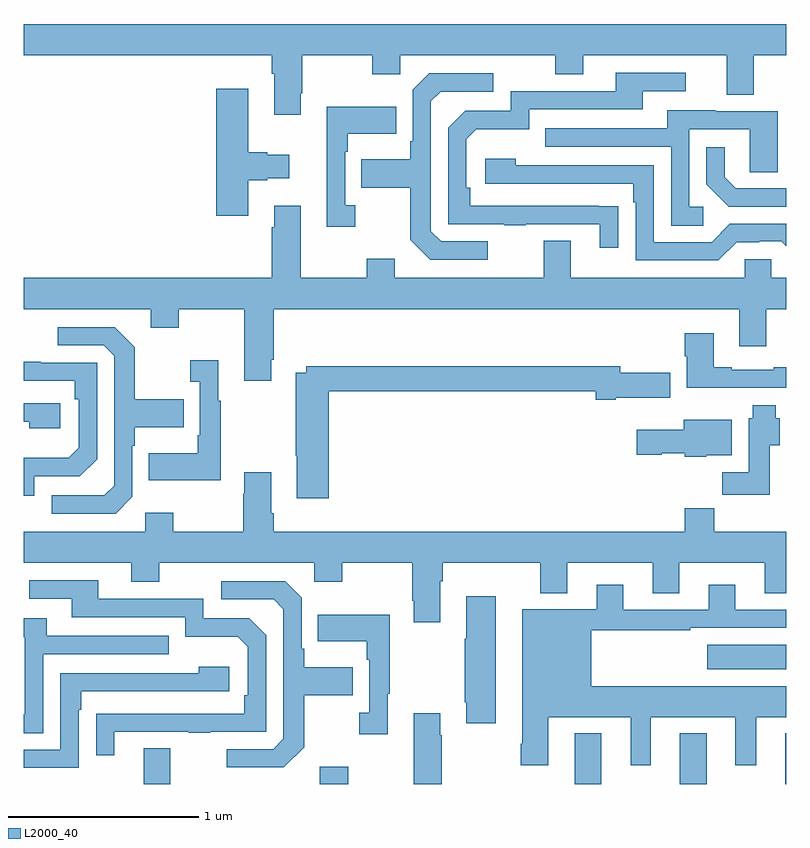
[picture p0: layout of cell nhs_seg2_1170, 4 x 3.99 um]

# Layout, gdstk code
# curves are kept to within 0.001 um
import gdstk
lib = gdstk.Library(unit=1e-6, precision=1e-09)
def R(c, l, rs):  # rectangles x0, y0, x1, y1
    for r in rs: c.add(gdstk.rectangle(r[:2], r[2:], *l))
def P(c, l, *ps):  # polygons
    for p in ps: c.add(gdstk.Polygon(p, *l))
L2000_40 = (2000, 40)

nhs_seg2_1170 = lib.new_cell('nhs_seg2_1170')
R(nhs_seg2_1170, L2000_40, [(171.629,655.8,171.769,655.987), (172.553,655.8,172.701,655.891), (173.891,655.8,174.031,656.065), (174.443,655.8,174.583,656.065), (174.995,655.8,175,656.065), (174.585,656.402,175,656.53)])
P(nhs_seg2_1170, L2000_40, [(172.453,659.425),(172.461,659.425),(172.461,659.624),(172.828,659.624),(172.828,659.525),(172.974,659.525),(172.974,659.624),(173.788,659.624),(173.788,659.525),(173.935,659.525),(173.935,659.624),(174.689,659.624),(174.689,659.416),(174.829,659.416),(174.829,659.624),(175,659.624),(175,659.788),(171,659.788),(171,659.624),(172.301,659.624),(172.301,659.528),(172.313,659.528),(172.313,659.313),(172.453,659.313)],
  [(174.119,658.832),(173.342,658.833),(173.342,658.93),(173.322,658.93),(173.322,659.184),(173.375,659.237),(173.652,659.237),(173.652,659.34),(174.247,659.34),(174.247,659.436),(174.472,659.436),(174.472,659.532),(174.107,659.532),(174.107,659.436),(173.556,659.436),(173.556,659.334),(173.316,659.334),(173.226,659.244),(173.226,658.737),(173.521,658.737),(173.521,658.732),(173.633,658.732),(173.633,658.737),(174.023,658.737),(174.023,658.614),(174.119,658.614)],
  [(173.434,658.647),(173.19,658.647),(173.136,658.701),(173.136,659.382),(173.187,659.433),(173.464,659.433),(173.464,659.529),(173.127,659.529),(173.04,659.442),(173.04,659.173),(173.028,659.173),(173.028,659.077),(172.771,659.077),(172.771,658.93),(173.028,658.93),(173.028,658.657),(173.133,658.551),(173.434,658.551)],
  [(172.177,658.967),(172.277,658.967),(172.277,658.979),(172.393,658.979),(172.393,659.101),(172.277,659.101),(172.277,659.114),(172.177,659.114),(172.177,659.449),(172.01,659.449),(172.01,658.782),(172.177,658.782)],
  [(172.738,658.838),(172.686,658.838),(172.686,659.117),(172.699,659.117),(172.699,659.213),(172.955,659.213),(172.955,659.353),(172.589,659.353),(172.589,658.725),(172.738,658.725)],
  [(174.565,658.83),(174.492,658.83),(174.492,659.235),(174.81,659.235),(174.81,659.011),(174.955,659.011),(174.955,659.331),(174.631,659.331),(174.631,659.335),(174.377,659.335),(174.377,659.241),(173.737,659.241),(173.737,659.145),(174.396,659.145),(174.396,658.729),(174.565,658.729)],
  [(175,658.926),(174.736,658.926),(174.679,658.983),(174.679,659.14),(174.582,659.14),(174.582,658.946),(174.698,658.83),(175,658.83)],
  [(174.741,658.644),(174.86,658.644),(174.86,658.647),(174.975,658.647),(175,658.622),(175,658.74),(174.705,658.74),(174.609,658.644),(174.306,658.644),(174.306,659.046),(173.582,659.046),(173.582,659.08),(173.421,659.08),(173.421,658.95),(174.197,658.95),(174.197,658.853),(174.21,658.853),(174.21,658.548),(174.645,658.548)],
  [(174.755,658.098),(174.895,658.098),(174.895,658.292),(175,658.292),(175,658.456),(174.921,658.456),(174.921,658.554),(174.783,658.554),(174.783,658.456),(173.869,658.456),(173.869,658.651),(173.729,658.651),(173.729,658.456),(172.945,658.456),(172.945,658.555),(172.798,658.555),(172.798,658.456),(172.453,658.456),(172.453,658.834),(172.313,658.834),(172.313,658.721),(172.301,658.721),(172.301,658.456),(171,658.456),(171,658.292),(171.665,658.292),(171.665,658.193),(171.813,658.193),(171.813,658.292),(172.157,658.292),(172.157,657.915),(172.297,657.915),(172.297,658.027),(172.31,658.027),(172.31,658.292),(174.755,658.292)],
  [(171.57,657.306),(171.57,657.575),(171.583,657.575),(171.583,657.671),(171.839,657.671),(171.839,657.819),(171.583,657.819),(171.583,658.091),(171.477,658.197),(171.177,658.197),(171.177,658.101),(171.42,658.101),(171.474,658.047),(171.474,657.366),(171.423,657.315),(171.147,657.315),(171.147,657.219),(171.483,657.219)],
  [(174.711,657.879),(175,657.879),(175,657.988),(174.935,657.988),(174.935,657.975),(174.715,657.975),(174.715,657.988),(174.619,657.988),(174.619,658.165),(174.467,658.165),(174.467,658.045),(174.479,658.045),(174.479,657.878),(174.711,657.878)],
  [(172.033,657.811),(172.021,657.811),(172.021,658.024),(171.873,658.024),(171.873,657.911),(171.924,657.911),(171.924,657.631),(171.912,657.631),(171.912,657.535),(171.655,657.535),(171.655,657.395),(172.033,657.395)],
  [(171.054,657.414),(171.294,657.414),(171.384,657.504),(171.384,658.011),(171.089,658.011),(171.089,658.016),(171,658.016),(171,657.915),(171.268,657.915),(171.268,657.818),(171.288,657.818),(171.288,657.564),(171.235,657.511),(171,657.511),(171,657.312),(171.054,657.312)],
  [(172.601,657.862),(174.002,657.862),(174.002,657.815),(174.106,657.815),(174.106,657.827),(174.391,657.827),(174.391,657.957),(174.13,657.957),(174.13,657.991),(172.482,657.991),(172.482,657.958),(172.426,657.958),(172.426,657.523),(172.433,657.523),(172.433,657.3),(172.601,657.3)],
  [(171.19,657.798),(171,657.798),(171,657.702),(171.029,657.702),(171.029,657.668),(171.19,657.668)],
  [(174.913,657.577),(174.967,657.577),(174.967,657.72),(174.946,657.72),(174.946,657.787),(174.824,657.787),(174.824,657.72),(174.803,657.72),(174.803,657.436),(174.664,657.436),(174.664,657.318),(174.913,657.318)],
  [(174.582,657.524),(174.715,657.524),(174.715,657.712),(174.464,657.712),(174.464,657.658),(174.216,657.658),(174.216,657.529),(174.348,657.529),(174.348,657.536),(174.468,657.536),(174.468,657.518),(174.582,657.518)],
  [(173.185,656.864),(173.198,656.864),(173.198,656.96),(173.711,656.96),(173.711,656.801),(173.851,656.801),(173.851,656.96),(174.299,656.96),(174.299,656.8),(174.439,656.8),(174.439,656.96),(174.887,656.96),(174.887,656.8),(175,656.8),(175,657.124),(174.623,657.124),(174.623,657.248),(174.467,657.248),(174.467,657.124),(172.31,657.124),(172.31,657.22),(172.297,657.22),(172.297,657.436),(172.157,657.436),(172.157,657.323),(172.15,657.323),(172.15,657.124),(171.783,657.124),(171.783,657.223),(171.636,657.223),(171.636,657.124),(171,657.124),(171,656.96),(171.563,656.96),(171.563,656.861),(171.711,656.861),(171.711,656.96),(172.524,656.96),(172.524,656.861),(172.671,656.861),(172.671,656.96),(173.038,656.96),(173.038,656.761),(173.045,656.761),(173.045,656.649),(173.185,656.649)],
  [(171.475,656.073),(171.865,656.073),(171.865,656.068),(171.977,656.068),(171.977,656.073),(172.272,656.073),(172.272,656.58),(172.182,656.67),(171.942,656.67),(171.942,656.772),(171.391,656.772),(171.391,656.868),(171.027,656.868),(171.027,656.772),(171.251,656.772),(171.251,656.676),(171.846,656.676),(171.846,656.573),(172.123,656.573),(172.176,656.52),(172.176,656.266),(172.156,656.266),(172.156,656.169),(171.379,656.168),(171.379,655.95),(171.475,655.95)],
  [(172.471,655.993),(172.471,656.266),(172.727,656.266),(172.727,656.413),(172.471,656.413),(172.471,656.509),(172.458,656.509),(172.458,656.778),(172.371,656.865),(172.035,656.865),(172.035,656.769),(172.311,656.769),(172.362,656.718),(172.362,656.037),(172.308,655.983),(172.065,655.983),(172.065,655.887),(172.365,655.887)],
  [(173.752,656.15),(174.185,656.15),(174.185,655.899),(174.289,655.899),(174.289,656.15),(174.734,656.15),(174.734,655.899),(174.844,655.899),(174.844,656.15),(175,656.15),(175,656.314),(173.977,656.314),(173.977,656.607),(174.497,656.607),(174.497,656.619),(175,656.619),(175,656.715),(174.733,656.715),(174.733,656.845),(174.593,656.845),(174.593,656.715),(174.145,656.715),(174.145,656.845),(174.005,656.845),(174.005,656.716),(173.615,656.716),(173.615,656.011),(173.608,656.011),(173.608,655.899),(173.752,655.899)],
  [(173.476,656.785),(173.321,656.785),(173.321,656.561),(173.314,656.561),(173.314,656.23),(173.321,656.23),(173.321,656.118),(173.476,656.118)],
  [(172.909,656.273),(172.921,656.273),(172.921,656.689),(172.543,656.689),(172.543,656.549),(172.8,656.549),(172.8,656.453),(172.812,656.453),(172.812,656.174),(172.761,656.174),(172.761,656.061),(172.909,656.061)],
  [(171.102,656.481),(171.761,656.481),(171.761,656.577),(171.121,656.577),(171.121,656.671),(171,656.671),(171,656.571),(171.006,656.571),(171.006,656.166),(171,656.166),(171,656.065),(171.102,656.065)],
  [(171.288,656.189),(171.301,656.189),(171.301,656.286),(172.078,656.286),(172.078,656.416),(171.917,656.416),(171.917,656.382),(171.192,656.382),(171.192,655.98),(171,655.98),(171,655.884),(171.288,655.884)],
  [(173.193,656.057),(173.185,656.057),(173.185,656.17),(173.045,656.17),(173.045,655.8),(173.193,655.8)])

lib.write_gds('nhs_seg2_1170.gds')
